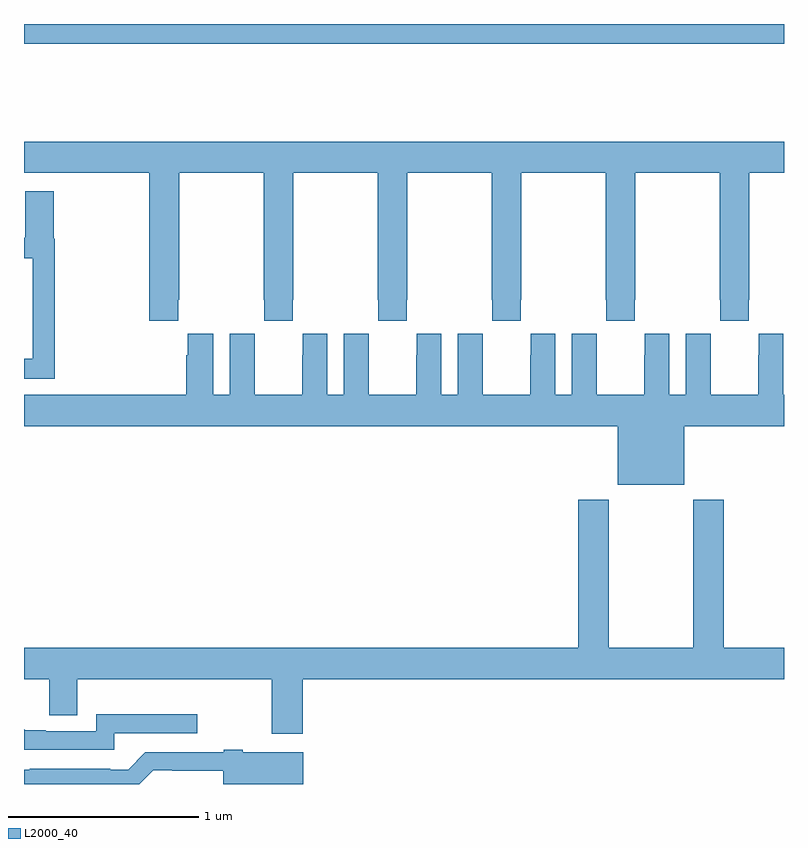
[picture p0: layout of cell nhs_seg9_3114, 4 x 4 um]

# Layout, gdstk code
import gdstk
lib = gdstk.Library(unit=1e-6, precision=1e-09)
def R(c, l, rs):  # rectangles x0, y0, x1, y1
    for r in rs: c.add(gdstk.rectangle(r[:2], r[2:], *l))
def P(c, l, *ps):  # polygons
    for p in ps: c.add(gdstk.Polygon(p, *l))
L2000_40 = (2000, 40)

nhs_seg9_3114 = lib.new_cell('nhs_seg9_3114')
R(nhs_seg9_3114, L2000_40, [(289,1234.396,293,1234.5)])
P(nhs_seg9_3114, L2000_40, [(289.811,1233.049),(289.818,1233.049),(289.818,1233.716),(290.263,1233.716),(290.263,1233.049),(290.265,1233.049),(290.265,1232.937),(290.415,1232.937),(290.415,1233.049),(290.418,1233.049),(290.418,1233.716),(290.863,1233.716),(290.863,1233.049),(290.865,1233.049),(290.865,1232.937),(291.015,1232.937),(291.015,1233.049),(291.018,1233.049),(291.018,1233.716),(291.463,1233.716),(291.463,1233.049),(291.465,1233.049),(291.465,1232.937),(291.615,1232.937),(291.615,1233.049),(291.618,1233.049),(291.618,1233.716),(292.063,1233.716),(292.063,1233.049),(292.065,1233.049),(292.065,1232.937),(292.215,1232.937),(292.215,1233.049),(292.218,1233.049),(292.218,1233.716),(292.663,1233.716),(292.663,1233.049),(292.665,1233.049),(292.665,1232.937),(292.815,1232.937),(292.815,1233.049),(292.818,1233.049),(292.818,1233.716),(293,1233.716),(293,1233.88),(289,1233.88),(289,1233.716),(289.658,1233.716),(289.658,1232.937),(289.811,1232.937)],
  [(289.163,1233.37),(289.157,1233.37),(289.157,1233.619),(289.007,1233.619),(289.007,1233.376),(289,1233.376),(289,1233.267),(289.047,1233.267),(289.047,1232.739),(289,1232.739),(289,1232.634),(289.163,1232.634)],
  [(292.124,1232.075),(292.474,1232.075),(292.474,1232.384),(293,1232.384),(293,1232.548),(292.996,1232.548),(292.996,1232.869),(292.866,1232.869),(292.866,1232.756),(292.865,1232.756),(292.865,1232.548),(292.615,1232.548),(292.615,1232.756),(292.614,1232.756),(292.614,1232.869),(292.484,1232.869),(292.484,1232.548),(292.396,1232.548),(292.396,1232.869),(292.266,1232.869),(292.266,1232.756),(292.265,1232.756),(292.265,1232.548),(292.015,1232.548),(292.015,1232.756),(292.014,1232.756),(292.014,1232.869),(291.884,1232.869),(291.884,1232.548),(291.796,1232.548),(291.796,1232.869),(291.666,1232.869),(291.666,1232.756),(291.665,1232.756),(291.665,1232.548),(291.415,1232.548),(291.415,1232.756),(291.414,1232.756),(291.414,1232.869),(291.284,1232.869),(291.284,1232.548),(291.196,1232.548),(291.196,1232.869),(291.066,1232.869),(291.066,1232.756),(291.065,1232.756),(291.065,1232.548),(290.815,1232.548),(290.815,1232.756),(290.814,1232.756),(290.814,1232.869),(290.684,1232.869),(290.684,1232.548),(290.596,1232.548),(290.596,1232.869),(290.466,1232.869),(290.466,1232.756),(290.465,1232.756),(290.465,1232.548),(290.215,1232.548),(290.215,1232.756),(290.214,1232.756),(290.214,1232.869),(290.084,1232.869),(290.084,1232.548),(289.996,1232.548),(289.996,1232.869),(289.862,1232.869),(289.862,1232.756),(289.853,1232.756),(289.853,1232.548),(289,1232.548),(289,1232.384),(292.124,1232.384)],
  [(290.468,1231.052),(293,1231.052),(293,1231.216),(292.682,1231.216),(292.682,1231.996),(292.522,1231.996),(292.522,1231.216),(292.077,1231.216),(292.077,1231.996),(291.917,1231.996),(291.917,1231.216),(289,1231.216),(289,1231.052),(289.132,1231.052),(289.132,1230.862),(289.279,1230.862),(289.279,1231.052),(290.303,1231.052),(290.303,1230.765),(290.468,1230.765)],
  [(289.476,1230.768),(289.912,1230.768),(289.912,1230.866),(289.38,1230.866),(289.38,1230.777),(289.114,1230.777),(289.114,1230.782),(289.007,1230.782),(289,1230.789),(289,1230.681),(289.476,1230.681)],
  [(289.679,1230.572),(289.78,1230.572),(289.78,1230.569),(290.048,1230.569),(290.048,1230.5),(290.47,1230.5),(290.47,1230.667),(290.152,1230.667),(290.152,1230.679),(290.052,1230.679),(290.052,1230.666),(289.638,1230.666),(289.548,1230.576),(289.454,1230.576),(289.454,1230.579),(289.03,1230.579),(289.03,1230.576),(289,1230.576),(289,1230.5),(289.607,1230.5)])

lib.write_gds('nhs_seg9_3114.gds')
